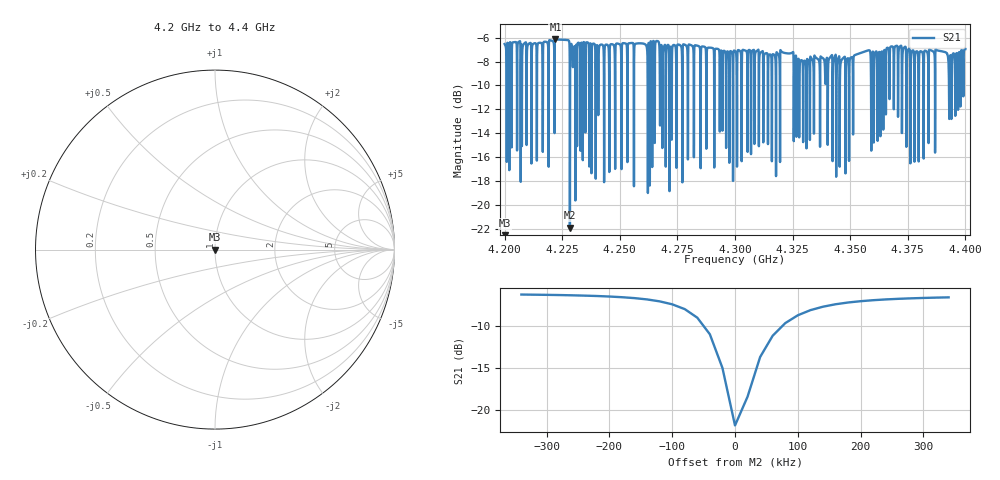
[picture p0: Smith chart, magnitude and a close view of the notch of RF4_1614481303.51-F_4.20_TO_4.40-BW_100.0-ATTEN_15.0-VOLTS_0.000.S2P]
!Keysight Technologies,E5063A,MY54502693,A.05.04
!Date: Sat Feb 27 20:02:02 2021
!Data & Calibration Information:
!Freq	S11:NONE(--)	S21:NONE(--)	S12:NONE(--)	S22:NONE(--)
# Hz S RI R 50
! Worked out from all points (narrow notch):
!   10000 points, 4.2 GHz to 4.4 GHz, reference 50 ohm
!   highest |S21| = -6.12 dB at 4.222 GHz (marker M1); lowest = -21.9 dB at 4.2283 GHz (marker M2)
!   notch at M2: 14.8 dB deep, 59.5 kHz wide at half that depth
!   lowest |S11| = - dB at 4.2 GHz (marker M3), VSWR 1.00, Z = 50 + j0 ohm
!   |S11| at or under -10 dB: start of sweep to end of sweep
!   S12 and S22 are empty: the file has one direction only
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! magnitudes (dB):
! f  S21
! 4.2 GHz  -6.5
! 4.222 GHz  -6.1
! 4.2283 GHz  -21.9
! 4.2333 GHz  -6.4
! 4.2597 GHz  -6.5
! 4.2631 GHz  -7.9
! 4.2667 GHz  -6.3
! 4.2708 GHz  -6.6
! 4.2757 GHz  -6.6
! 4.2896 GHz  -6.8
! 4.3 GHz  -7.1
! 4.3041 GHz  -7.1
! 4.3334 GHz  -7.8
! 4.3468 GHz  -7.7
! 4.3488 GHz  -7.7
! 4.3577 GHz  -7.1
! 4.3598 GHz  -7.2
! 4.3667 GHz  -6.9
! 4.377 GHz  -7.1
! 4.3907 GHz  -7.2
! 4.3934 GHz  -7.6
! 4.4 GHz  -6.9
